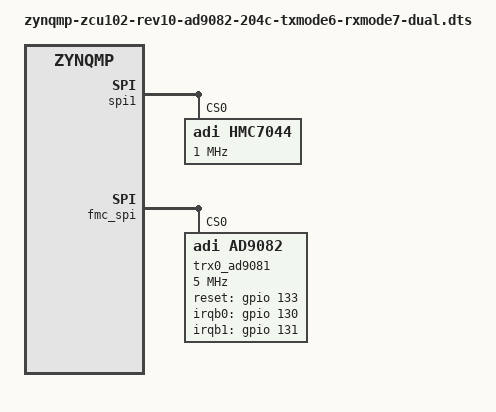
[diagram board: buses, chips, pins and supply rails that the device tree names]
// SPDX-License-Identifier: GPL-2.0
/*
 * Analog Devices AD9082-FMC-EBZ
 * https://wiki.analog.com/resources/eval/user-guides/quadmxfe/quick-start
 * https://wiki.analog.com/resources/tools-software/linux-drivers/iio-mxfe/ad9081
 *
 * hdl_project: <ad9082_fmca_ebz/zcu102>
 * board_revision: <>
 *
 * Copyright (C) 2026 Analog Devices Inc.
 */

#include "zynqmp-zcu102-rev10-ad9081-default.dtsi"
#include <dt-bindings/iio/frequency/hmc7044.h>
#include <dt-bindings/iio/adc/adi,ad9081.h>

/ {
	axi-jesd204-rx@0 {
		compatible = "adi,iio-fake-platform-device";
		adi,faked-dev = <&axi_ad9081_rx_jesd>;
		adi,attribute-names =
			"status", "encoder", "lane0_info", "lane1_info",
			"lane2_info", "lane3_info";
		label = "axi-jesd204-rx";
	};

	axi-jesd204-tx@1 {
		compatible = "adi,iio-fake-platform-device";
		adi,faked-dev = <&axi_ad9081_tx_jesd>;
		adi,attribute-names = "status", "encoder";
		label = "axi-jesd204-tx";
	};

	axi-adxcvr-rx@2 {
		compatible = "adi,iio-fake-platform-device";
		adi,faked-dev = <&axi_ad9081_adxcvr_rx>;
		adi,attribute-names =
			"eyescan_info", "prbs_status", "prbs_counter_reset",
			"prescale", "enable", "prbs_error_counters", "reg_access",
			"eye_data", "prbs_select", "eye_data_partial", "eye_data_available";
		label = "axi-adxcvr-rx";
	};

	axi-adxcvr-tx@4 {
		compatible = "adi,iio-fake-platform-device";
		adi,faked-dev = <&axi_ad9081_adxcvr_tx>;
		adi,attribute-names = "prbs_select", "prbs_error_inject", "reg_access";
		label = "axi-adxcvr-tx";
	};
};

&axi_ad9081_rx_jesd {
	clocks = <&zynqmp_clk 71>, <&hmc7044 10>, <&axi_ad9081_adxcvr_rx 1>, <&axi_ad9081_adxcvr_rx 0>;
	clock-names = "s_axi_aclk", "device_clk", "link_clk", "lane_clk";
};

&axi_ad9081_tx_jesd {
	clocks = <&zynqmp_clk 71>, <&hmc7044 6>, <&axi_ad9081_adxcvr_tx 1>, <&axi_ad9081_adxcvr_tx 0>;
	clock-names = "s_axi_aclk", "device_clk", "link_clk", "lane_clk";
};

&axi_ad9081_adxcvr_rx {
	adi,sys-clk-select = <XCVR_QPLL>;
	adi,out-clk-select = <XCVR_PROGDIV_CLK>;
	adi,vco1-max-khz = <16500000>;
};

&axi_ad9081_adxcvr_tx {
	adi,sys-clk-select = <XCVR_QPLL>;
	adi,out-clk-select = <XCVR_PROGDIV_CLK>;
	adi,vco1-max-khz = <16500000>;
};


&spi1 {
	status = "okay";

	/delete-node/ hmc7044@0;

	hmc7044: hmc7044@0 {
		#address-cells = <1>;
		#size-cells = <0>;
		#clock-cells = <1>;
		compatible = "adi,hmc7044";
		reg = <0>;
		spi-max-frequency = <1000000>;

		jesd204-device;
		#jesd204-cells = <2>;
		jesd204-sysref-provider;

		adi,jesd204-max-sysref-frequency-hz = <2000000>; /* 2 MHz */

		/*
		 * There are different versions of the AD9081-FMCA-EBZ & AD9082-FMCA-EBZ
		 * VCXO = 122.880 MHz, XO = 122.880MHz (AD9081-FMC-EBZ & AD9082-FMC-EBZ)
		 * VCXO = 100.000 MHz, XO = 100.000MHz (AD9081-FMC-EBZ-A2 & AD9082-FMC-EBZ-A2)
		 * To determine which board is which, read the freqency printed on the VCXO
		 * or use the fru-dump utility:
		 * #fru-dump -b /sys/bus/i2c/devices/15-0050/eeprom
		 */

		//adi,pll1-clkin-frequencies = <122880000 30720000 0 0>;
		//adi,vcxo-frequency = <122880000>;

		adi,pll1-clkin-frequencies = <100000000 10000000 0 0>;
		adi,vcxo-frequency = <100000000>;

		adi,pll1-loop-bandwidth-hz = <200>;
		adi,pll1-charge-pump-current-ua = <720>;
		adi,pfd1-maximum-limit-frequency-hz = <1000000>; /* 1 MHz */

		adi,pll2-output-frequency = <3000000000>;

		adi,sysref-timer-divider = <1024>;
		adi,pulse-generator-mode = <0>;

		adi,clkin0-buffer-mode  = <0x07>;
		adi,clkin1-buffer-mode  = <0x07>;
		adi,oscin-buffer-mode = <0x15>;

		adi,pll1-ref-prio-ctrl = <0xE5>; /* prefer CLKIN1 */

		adi,gpi-controls = <0x00 0x00 0x00 0x00>;
		adi,gpo-controls = <0x37 0x33 0x00 0x00>;

		clock-output-names =
			"hmc7044_out0", "hmc7044_out1", "hmc7044_out2",
			"hmc7044_out3", "hmc7044_out4", "hmc7044_out5",
			"hmc7044_out6", "hmc7044_out7", "hmc7044_out8",
			"hmc7044_out9", "hmc7044_out10", "hmc7044_out11",
			"hmc7044_out12", "hmc7044_out13";

		hmc7044_c0: channel@0 {
			reg = <0>;
			adi,extended-name = "CORE_CLK_RX";
			adi,divider = <48>;
			adi,driver-mode = <HMC7044_DRIVER_MODE_LVDS>;

		};
		hmc7044_c2: channel@2 {
			reg = <2>;
			adi,extended-name = "DEV_REFCLK";
			adi,divider = <4>; /* 720 MHz */
			adi,driver-mode = <HMC7044_DRIVER_MODE_LVDS>;
		};

		hmc7044_c3: channel@3 {
			reg = <3>;
			adi,extended-name = "DEV_SYSREF";
			adi,divider = <768>;
			adi,driver-mode = <HMC7044_DRIVER_MODE_LVDS>;
			adi,jesd204-sysref-chan;
			//adi,disable; /* Completely disable channel */
		};

		hmc7044_c6: channel@6 {
			reg = <6>;
			adi,extended-name = "CORE_CLK_TX";
			adi,divider = <24>;
			adi,driver-mode = <HMC7044_DRIVER_MODE_LVDS>;
		};

		hmc7044_c8: channel@8 {
			reg = <8>;
			adi,extended-name = "FPGA_REFCLK1";
			adi,divider = <64>;
			adi,driver-mode = <HMC7044_DRIVER_MODE_LVDS>;
		};

		hmc7044_c10: channel@10 {
			reg = <10>;
			adi,extended-name = "CORE_CLK_RX_ALT";
			adi,divider = <48>;
			adi,driver-mode = <HMC7044_DRIVER_MODE_LVDS>;
		};

		hmc7044_c12: channel@12 {
			reg = <12>;
			adi,extended-name = "FPGA_REFCLK2";
			adi,divider = <8>;
			adi,driver-mode = <HMC7044_DRIVER_MODE_LVDS>;
		};

		hmc7044_c13: channel@13 {
			reg = <13>;
			adi,extended-name = "FPGA_SYSREF";
			adi,divider = <768>;
			adi,driver-mode = <HMC7044_DRIVER_MODE_LVDS>;
			adi,jesd204-sysref-chan;
			//i,disable; /* Completely disable channel */
		};
	};
};

&fmc_spi {
	/delete-node/ ad9081@0;

	trx0_ad9081: ad9082@0 {
		#address-cells = <1>;
		#size-cells = <0>;
		compatible = "adi,ad9082";
		reg = <0>;
		spi-max-frequency = <5000000>;

		reset-gpios = <&gpio 133 0>;
		irqb0-gpios = <&gpio 130 0>;
		irqb1-gpios = <&gpio 131 0>;

		/* Clocks */
		clocks = <&hmc7044 2>;
		clock-names = "dev_clk";

		clock-output-names = "rx_sampl_clk", "tx_sampl_clk", "rx_sampl_clk_link2";
		#clock-cells = <1>;

		jesd204-device;
		#jesd204-cells = <2>;
		jesd204-top-device = <0>; /* This is the TOP device */
		jesd204-link-ids = <FRAMER_LINK0_RX FRAMER_LINK1_RX DEFRAMER_LINK0_TX DEFRAMER_LINK1_TX>;
		//jesd204-ignore-errors;

		jesd204-inputs =
			<&axi_ad9081_core_rx 0 FRAMER_LINK0_RX>,
			<&axi_ad9081_core_tx 0 DEFRAMER_LINK0_TX>,
			<&axi_ad9081_core_rx 0 FRAMER_LINK1_RX>,
			<&axi_ad9081_core_tx 0 DEFRAMER_LINK1_TX>;

		//adi,continuous-sysref-mode-disable;

		//adi,dual-link-use-separate-tpl-enable;

		adi,tx-dacs {
			#size-cells = <0>;
			#address-cells = <1>;

			adi,dac-frequency-hz = /bits/ 64 <12000000000>;

			adi,main-data-paths {
				#address-cells = <1>;
				#size-cells = <0>;

				adi,interpolation = <12>;

				ad9081_dac0: dac@0 {
					reg = <0>;
					adi,crossbar-select = <&ad9081_tx_fduc_chan0>;
					adi,nco-frequency-shift-hz = /bits/ 64 <1000000000>; /* 1000 MHz */
				};
				ad9081_dac3: dac@3 {
					reg = <3>;
					adi,crossbar-select = <&ad9081_tx_fduc_chan4>;
					adi,maindp-dac-1x-non1x-crossbar-select = <2>; /* Required to map correct datapath !*/
					adi,nco-frequency-shift-hz = /bits/ 64 <1000000000>; /* 1100 MHz */
				};
			};

			adi,channelizer-paths {
				#address-cells = <1>;
				#size-cells = <0>;
				adi,interpolation = <1>;

				ad9081_tx_fduc_chan0: channel@0 {
					reg = <0>;
					adi,gain = <2048>; /* 2048 * 10^(gain_dB/20) */
					adi,nco-frequency-shift-hz =  /bits/ 64 <0>;

				};

				/* Dual Link mapped to FDUC 4 through FDUC 7 */
				ad9081_tx_fduc_chan4: channel@4 {
					reg = <4>;
					adi,gain = <2048>; /* 2048 * 10^(gain_dB/20) */
					adi,nco-frequency-shift-hz =  /bits/ 64 <0>;

				};
			};

			adi,jesd-links {
				#size-cells = <0>;
				#address-cells = <1>;

				adi,lane-invert-mask = <0>;

				ad9081_tx_jesd_l0: link@0 {
					#address-cells = <1>;
					#size-cells = <0>;
					reg = <0>;

					adi,logical-lane-mapping = /bits/ 8 <0 2 7 7 1 7 7 3>;


					adi,link-mode = <6>;			/* JESD Quick Configuration Mode */
					adi,subclass = <1>;			/* JESD SUBCLASS 0,1,2 */
					adi,version = <2>;			/* JESD VERSION 0=204A,1=204B,2=204C */
					adi,dual-link = <1>;			/* JESD Dual Link Mode */

					adi,converters-per-device = <2>;	/* JESD M */
					adi,octets-per-frame = <2>;		/* JESD F */

					adi,frames-per-multiframe = <128>;	/* JESD K */
					adi,converter-resolution = <16>;	/* JESD N */
					adi,bits-per-sample = <16>;		/* JESD NP' */
					adi,control-bits-per-sample = <0>;	/* JESD CS */
					adi,lanes-per-device = <2>;		/* JESD L */
					adi,samples-per-converter-per-frame = <1>; /* JESD S */
					adi,high-density = <0>;			/* JESD HD */
				};

				/*
				 * When using two JESD204B/C links (dual link), the samples from the
				 * 1st link are mapped to FDUC 0 through FDUC 3 whereas the
				 * samples from the 2nd link are always mapped to FDUC 4 through
				 * FDUC 7.
				*/

				ad9081_tx_jesd_l1: link@1 {
					#address-cells = <1>;
					#size-cells = <0>;
					reg = <1>;

					adi,logical-lane-mapping = /bits/ 8 <7 0 7 7 7 7 7 1>;

					adi,link-mode = <6>;			/* JESD Quick Configuration Mode */
					adi,subclass = <1>;			/* JESD SUBCLASS 0,1,2 */
					adi,version = <2>;			/* JESD VERSION 0=204A,1=204B,2=204C */
					adi,dual-link = <1>;			/* JESD Dual Link Mode */

					adi,converters-per-device = <2>;	/* JESD M */
					adi,octets-per-frame = <2>;		/* JESD F */

					adi,frames-per-multiframe = <128>;	/* JESD K */
					adi,converter-resolution = <16>;	/* JESD N */
					adi,bits-per-sample = <16>;		/* JESD NP' */
					adi,control-bits-per-sample = <0>;	/* JESD CS */
					adi,lanes-per-device = <2>;		/* JESD L */
					adi,samples-per-converter-per-frame = <1>; /* JESD S */
					adi,high-density = <0>;			/* JESD HD */
				};
			};
		};

		adi,rx-adcs {
			#size-cells = <0>;
			#address-cells = <1>;

			adi,adc-frequency-hz = /bits/ 64 <4000000000>;

			adi,main-data-paths {
				#address-cells = <1>;
				#size-cells = <0>;

				ad9081_adc0: adc@0 {
					reg = <0>;
					adi,decimation = <4>;
					adi,nco-frequency-shift-hz =  /bits/ 64 <1000000000>;
					adi,nco-mixer-mode = <AD9081_ADC_NCO_VIF>;
					//adi,crossbar-select = <&ad9081_rx_fddc_chan0>, <&ad9081_rx_fddc_chan2>; /* Static for now */
				};
				ad9081_adc1: adc@1 {
					reg = <1>;
					adi,decimation = <4>;
					adi,nco-frequency-shift-hz =  /bits/ 64 <(1000000000)>;
					adi,nco-mixer-mode = <AD9081_ADC_NCO_VIF>;
					//adi,crossbar-select = <&ad9081_rx_fddc_chan1>, <&ad9081_rx_fddc_chan3>; /* Static for now */
				};

			};

			adi,channelizer-paths {
				#address-cells = <1>;
				#size-cells = <0>;

				ad9081_rx_fddc_chan0: channel@0 {
					reg = <0>;
					adi,decimation = <1>;
					adi,gain = <2048>; /* 2048 * 10^(gain_dB/20) */
					adi,nco-frequency-shift-hz =  /bits/ 64 <0>;

				};
				ad9081_rx_fddc_chan1: channel@1 {
					reg = <1>;
					adi,decimation = <1>;
					adi,gain = <2048>; /* 2048 * 10^(gain_dB/20) */
					adi,nco-frequency-shift-hz =  /bits/ 64 <0>;
				};
			};

			adi,jesd-links {
				#size-cells = <0>;
				#address-cells = <1>;

				adi,lane-invert-mask = <0>;

				ad9081_rx_jesd_l0: link@0 {
					reg = <0>;
					adi,converter-select =
						<&ad9081_rx_fddc_chan0 FDDC_I>, <&ad9081_rx_fddc_chan0 FDDC_Q>;

					adi,logical-lane-mapping = /bits/ 8 <7 0 7 7 7 7 7 1>;


					adi,link-mode = <7>;			/* JESD Quick Configuration Mode */
					adi,subclass = <0>;			/* JESD SUBCLASS 0,1,2 */
					adi,version = <2>;			/* JESD VERSION 0=204A,1=204B,2=204C */
					adi,dual-link = <1>;			/* JESD Dual Link Mode */

					adi,converters-per-device = <2>;	/* JESD M */
					adi,octets-per-frame = <2>;		/* JESD F */

					adi,frames-per-multiframe = <128>;	/* JESD K */
					adi,converter-resolution = <16>;	/* JESD N */
					adi,bits-per-sample = <16>;		/* JESD NP' */
					adi,control-bits-per-sample = <0>;	/* JESD CS */
					adi,lanes-per-device = <2>;		/* JESD L */
					adi,samples-per-converter-per-frame = <1>; /* JESD S */
					adi,high-density = <0>;			/* JESD HD */
				};

				ad9081_rx_jesd_l1: link@1 {
					reg = <1>;
					adi,converter-select =
						<&ad9081_rx_fddc_chan1 FDDC_I>, <&ad9081_rx_fddc_chan1 FDDC_Q>;

					//adi,logical-lane-mapping = /bits/ 8 <7 7 7 7 1 0 7 7>;
                                        adi,logical-lane-mapping = /bits/ 8 <0 7 7 7 7 7 1 7>;

					adi,link-mode = <7>;			/* JESD Quick Configuration Mode */
					adi,subclass = <0>;			/* JESD SUBCLASS 0,1,2 */
					adi,version = <2>;			/* JESD VERSION 0=204A,1=204B,2=204C */
					adi,dual-link = <1>;			/* JESD Dual Link Mode */

					adi,converters-per-device = <2>;	/* JESD M */
					adi,octets-per-frame = <2>;		/* JESD F */

					adi,frames-per-multiframe = <128>;	/* JESD K */
					adi,converter-resolution = <16>;	/* JESD N */
					adi,bits-per-sample = <16>;		/* JESD NP' */
					adi,control-bits-per-sample = <0>;	/* JESD CS */
					adi,lanes-per-device = <2>;		/* JESD L */
					adi,samples-per-converter-per-frame = <1>; /* JESD S */
					adi,high-density = <0>;			/* JESD HD */
				};
			};
		};
	};
};

&axi_ad9081_core_tx {
	single-shot-output-gpios = <&gpio 139 0>;
};
